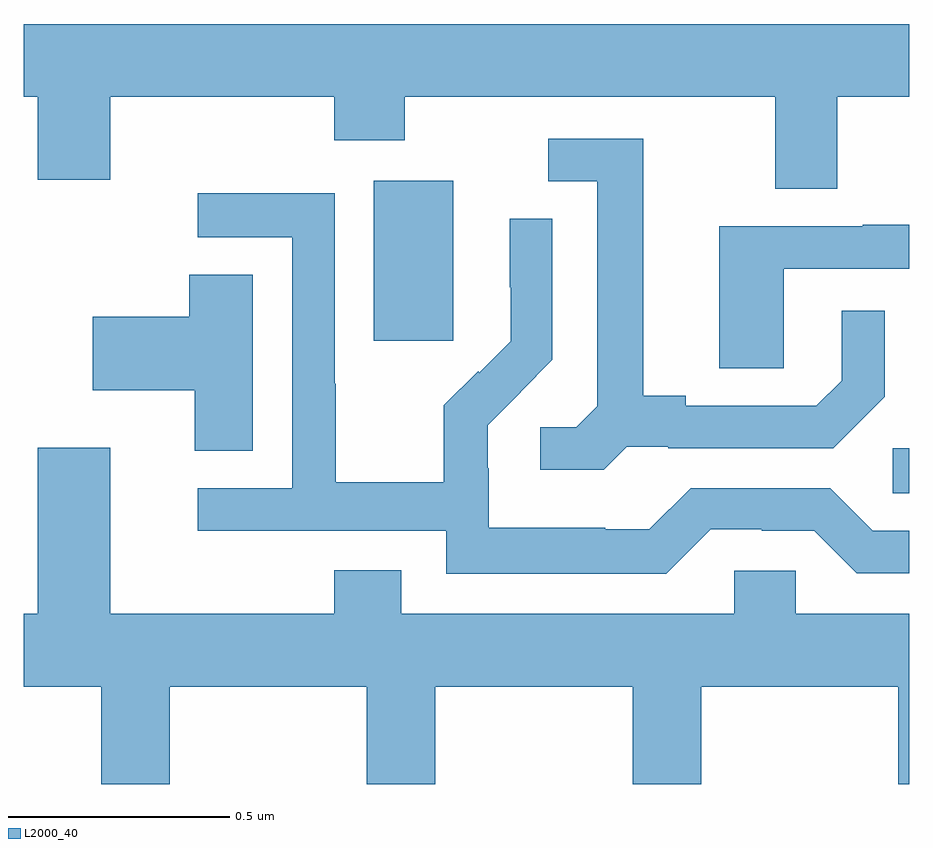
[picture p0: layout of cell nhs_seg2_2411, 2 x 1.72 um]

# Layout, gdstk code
import gdstk
lib = gdstk.Library(unit=1e-6, precision=1e-09)
def R(c, l, rs):  # rectangles x0, y0, x1, y1
    for r in rs: c.add(gdstk.rectangle(r[:2], r[2:], *l))
def P(c, l, *ps):  # polygons
    for p in ps: c.add(gdstk.Polygon(p, *l))
L2000_40 = (2000, 40)

nhs_seg2_2411 = lib.new_cell('nhs_seg2_2411')
R(nhs_seg2_2411, L2000_40, [(142.962,597.457,143,597.558), (141.791,597.801,141.97,598.162)])
P(nhs_seg2_2411, L2000_40, [(142.837,598.352),(143,598.352),(143,598.516),(141,598.516),(141,598.352),(141.032,598.352),(141.032,598.164),(141.196,598.164),(141.196,598.352),(141.701,598.352),(141.701,598.253),(141.861,598.253),(141.861,598.352),(142.697,598.352),(142.697,598.144),(142.837,598.144)],
  [(142.362,597.561),(142.456,597.561),(142.456,597.558),(142.828,597.558),(142.944,597.674),(142.944,597.868),(142.847,597.868),(142.847,597.711),(142.79,597.654),(142.495,597.654),(142.495,597.677),(142.399,597.677),(142.399,598.257),(142.185,598.257),(142.185,598.161),(142.295,598.161),(142.295,597.653),(142.248,597.606),(142.167,597.606),(142.167,597.509),(142.31,597.509)],
  [(142.551,597.375),(142.667,597.375),(142.667,597.372),(142.785,597.372),(142.881,597.276),(143,597.276),(143,597.372),(142.917,597.372),(142.821,597.468),(142.506,597.468),(142.413,597.375),(142.313,597.375),(142.313,597.379),(142.05,597.379),(142.05,597.513),(142.048,597.513),(142.048,597.61),(142.122,597.684),(142.121,597.685),(142.194,597.758),(142.194,598.076),(142.098,598.076),(142.098,597.922),(142.1,597.922),(142.1,597.8),(142.029,597.729),(142.026,597.732),(141.949,597.655),(141.949,597.481),(141.705,597.481),(141.705,597.704),(141.702,597.704),(141.702,598.134),(141.393,598.134),(141.393,598.035),(141.606,598.035),(141.606,597.468),(141.393,597.468),(141.393,597.372),(141.954,597.372),(141.954,597.275),(142.451,597.275)],
  [(142.716,597.963),(143,597.963),(143,598.063),(142.895,598.063),(142.895,598.059),(142.571,598.059),(142.571,597.739),(142.716,597.739)],
  [(141.517,597.95),(141.374,597.95),(141.374,597.855),(141.156,597.855),(141.156,597.689),(141.386,597.689),(141.386,597.553),(141.517,597.553)],
  [(141.93,597.02),(142.375,597.02),(142.375,596.8),(142.53,596.8),(142.53,597.02),(142.975,597.02),(142.975,596.8),(143,596.8),(143,597.184),(142.743,597.184),(142.743,597.282),(142.605,597.282),(142.605,597.184),(141.853,597.184),(141.853,597.283),(141.701,597.283),(141.701,597.184),(141.196,597.184),(141.196,597.559),(141.032,597.559),(141.032,597.184),(141,597.184),(141,597.02),(141.175,597.02),(141.175,596.8),(141.33,596.8),(141.33,597.02),(141.775,597.02),(141.775,596.8),(141.93,596.8)])

lib.write_gds('nhs_seg2_2411.gds')
